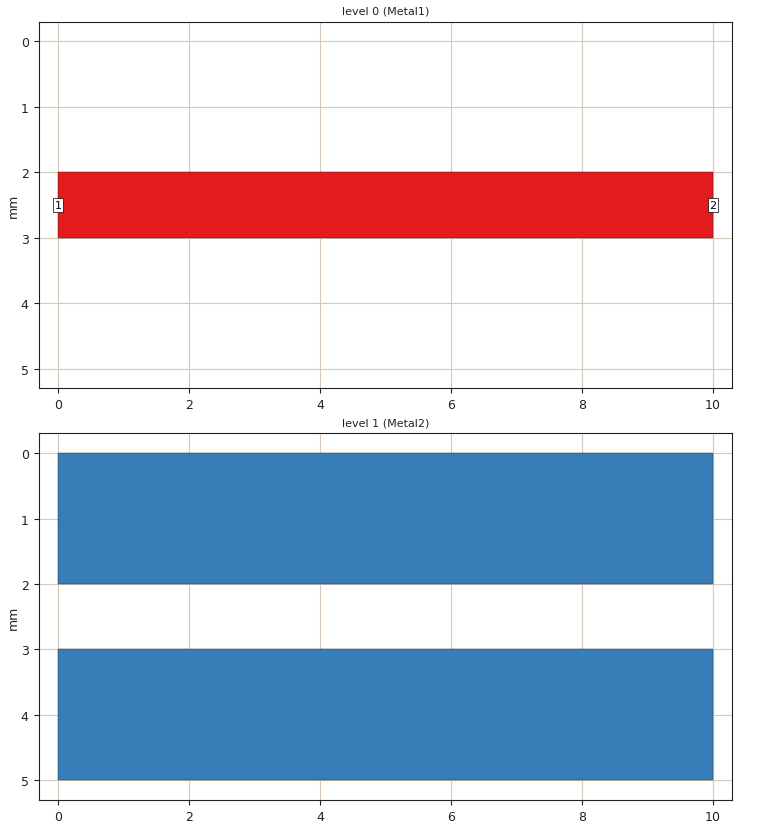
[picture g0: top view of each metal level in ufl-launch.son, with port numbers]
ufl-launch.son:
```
FTYP SONPROJ 17 ! Sonnet Project File
VER 17.52.2
HEADER
LIC antikernel2.1.48685 90e2ba8817c0 havequick azonenberg
DAT 10/06/2020 17:29:34
BUILT_BY_CREATED xgeom 16.56 07/03/2018 15:05:41
BUILT_BY_SAVED sonnet 17.52.2
MDATE 10/06/2020 17:29:34
HDATE 10/06/2020 17:29:34
END HEADER
DIM
ANG DEG
CAP PF
CON /OH
FREQ GHZ
IND NH
LNG MM
RES OH
END DIM
CONTROL
VARSWP
OPTIONS  -dj
SPEED 0
CACHE_ABS 1
Q_ACC N
END CONTROL
GEO
SYM
TMET "Free Space" 0 FREESPACE 376.7303136 0 0 0
BMET "Free Space" 0 FREESPACE 376.7303136 0 0 0
MET "Silver" 1 TMM 61700000 0.5 0.035 3
MET "Copper 1oz thick" 2 TMM 58000000 0.5 0.035 3
MET "Copper 1oz thin" 1 NOR 58000000 0.5 0.035 
BOX 2 10 5 160 400 20 0
      1 1 1 0 0 0 0 "Air"
      0.102 3.2 1 0.002 0 0 0 "Panasonic F775"
      1 1 1 0 0 0 0 "Substrate"
TECHLAY METAL Metal1 <UNSPECIFIED> -2 0 
0 0 2 N 0 1 1 100 100 0 0 0 Y
END
END
TECHLAY METAL Metal2 <UNSPECIFIED> -3 0 
1 0 2 N 0 1 1 100 100 0 0 0 Y
END
END
DIM STD YDIR -1
POS -0.222156882 -1.09878086
NOM 1
REF1 POLY 208 1
3
REF2 POLY 208 1
0
END
DIM STD YDIR -1
POS -0.2925065613 -2.089869265
NOM 2
REF1 POLY 215 1
2
REF2 POLY 215 1
1
END
DIM STD YDIR -1
POS -0.2925065613 -2.089869265
NOM 2
REF1 POLY 216 1
2
REF2 POLY 216 1
1
END
DIM STD YDIR -1
POS -0.1258888998 -0.2303559955
NOM 1
REF1 POLY 216 1
1
REF2 POLY 215 1
2
END
LORGN 0 250 U 
POR1 BOX
POLY 208 1
3
1 50 0 0 0 0 2.5 
POR1 BOX
POLY 208 1
1
2 50 0 0 0 10 2.5 
NUM 3
0 5 2 N 208 1 1 100 100 0 0 0 Y
TLAYNAM Metal1 INH
0 2
10 2
10 3
0 3
0 2
END
1 5 2 N 215 1 1 100 100 0 0 0 Y
TLAYNAM Metal2 INH
10 0
0 0
0 2
10 2
10 0
END
1 5 2 N 216 1 1 100 100 0 0 0 Y
TLAYNAM Metal2 INH
10 3
0 3
0 5
10 5
10 3
END
END GEO
OPT
MAX 100
END OPT
VARSWP
ENABLED Y
FREQ Y AY ABS_ENTRY 0.1 10.0 -1 300 
END
END VARSWP
FILEOUT
FOLDER .
END FILEOUT
```
